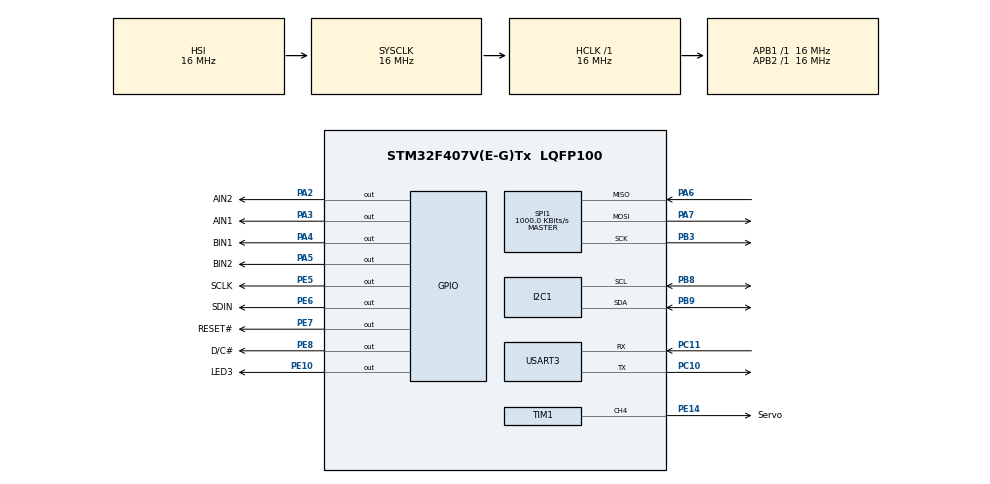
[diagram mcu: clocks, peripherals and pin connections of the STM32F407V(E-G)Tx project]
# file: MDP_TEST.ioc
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FREERTOS.Tasks01=defaultTask,24,128,StartDefaultTask,Default,NULL,Dynamic,NULL,NULL;SerialCommTask,49,128,SerialComm,Default,NULL,Dynamic,NULL,NULL;MotorTask,50,128,StartMotor,Default,NULL,Dynamic,NULL,NULL
Mcu.Family=STM32F4
Mcu.Name=STM32F407V(E-G)Tx
Mcu.Package=LQFP100
NVIC.PriorityGroup=NVIC_PRIORITYGROUP_4
NVIC.USART3_IRQn=true\:5\:0\:false\:false\:true\:true\:true\:true
PA2.GPIO_Label=AIN2
PA2.GPIO_Speed=GPIO_SPEED_FREQ_HIGH
PA2.Signal=GPIO_Output
PA3.GPIO_Label=AIN1
PA3.GPIO_Speed=GPIO_SPEED_FREQ_HIGH
PA3.Signal=GPIO_Output
PA4.GPIO_Label=BIN1
PA4.GPIO_Speed=GPIO_SPEED_FREQ_HIGH
PA4.Signal=GPIO_Output
PA5.GPIO_Label=BIN2
PA5.GPIO_Speed=GPIO_SPEED_FREQ_HIGH
PA5.Signal=GPIO_Output
PA6.Mode=Full_Duplex_Master
PA6.Signal=SPI1_MISO
PA7.Mode=Full_Duplex_Master
PA7.Signal=SPI1_MOSI
PB3.Mode=Full_Duplex_Master
PB3.Signal=SPI1_SCK
PB8.Mode=I2C
PB8.Signal=I2C1_SCL
PB9.Mode=I2C
PB9.Signal=I2C1_SDA
PC10.Mode=Asynchronous
PC10.Signal=USART3_TX
PC11.Mode=Asynchronous
PC11.Signal=USART3_RX
PC6.GPIO_Label=PWMA
PC6.Signal=S_TIM8_CH1
PC7.GPIO_Label=PWMB
PC7.Signal=S_TIM8_CH2
PE10.GPIO_Label=LED3
PE10.Signal=GPIO_Output
PE14.GPIO_Label=Servo
PE14.Signal=S_TIM1_CH4
PE5.GPIO_Label=SCLK
PE5.Signal=GPIO_Output
PE6.GPIO_Label=SDIN
PE6.Signal=GPIO_Output
PE7.GPIO_Label=RESET\#
PE7.Signal=GPIO_Output
PE8.GPIO_Label=D/C\#
PE8.Signal=GPIO_Output
ProjectManager.HeapSize=0x200
ProjectManager.StackSize=0x400
ProjectManager.TargetToolchain=STM32CubeIDE
RCC.AHBFreq_Value=16000000
RCC.APB1Freq_Value=16000000
RCC.APB2Freq_Value=16000000
RCC.CortexFreq_Value=16000000
RCC.HSE_VALUE=25000000
RCC.HSI_VALUE=16000000
RCC.LSE_VALUE=32768
RCC.SYSCLKFreq_VALUE=16000000
RCC.VCOOutputFreq_Value=192000000
SH.S_TIM1_CH4.0=TIM1_CH4,PWM Generation4 CH4
SH.S_TIM8_CH1.0=TIM8_CH1
SH.S_TIM8_CH2.0=TIM8_CH2
SPI1.BaudRatePrescaler=SPI_BAUDRATEPRESCALER_16
SPI1.CLKPhase=SPI_PHASE_2EDGE
SPI1.CLKPolarity=SPI_POLARITY_HIGH
SPI1.CalculateBaudRate=1000.0 KBits/s
SPI1.Direction=SPI_DIRECTION_2LINES
SPI1.Mode=SPI_MODE_MASTER
SPI1.VirtualType=VM_MASTER
TIM1.Channel-PWM\ Generation4\ CH4=TIM_CHANNEL_4
TIM1.Period=1000
TIM1.Prescaler=160
TIM8.Channel-PWM\ Generation1\ No\ Output=TIM_CHANNEL_1
TIM8.Channel-PWM\ Generation2\ No\ Output=TIM_CHANNEL_2
TIM8.Period=7199
USART3.VirtualMode=VM_ASYNC
VP_FREERTOS_VS_CMSIS_V2.Mode=CMSIS_V2
VP_TIM1_VS_ClockSourceINT.Mode=Internal
VP_TIM8_VS_ClockSourceINT.Mode=Internal
VP_TIM8_VS_no_output1.Mode=PWM Generation1 No Output
VP_TIM8_VS_no_output2.Mode=PWM Generation2 No Output
board=custom

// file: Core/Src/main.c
/* USER CODE BEGIN Header */
/**
  ******************************************************************************
  * @file           : main.c
  * @brief          : Main program body
  ******************************************************************************
  * @attention
  *
  * Copyright (c) 2022 STMicroelectronics.
  * All rights reserved.
  *
  * This software is licensed under terms that can be found in the LICENSE file
  * in the root directory of this software component.
  * If no LICENSE file comes with this software, it is provided AS-IS.
  *
  ******************************************************************************
  */
/* USER CODE END Header */
#include "main.h"
#include "cmsis_os.h"
#include "i2c.h"
#include "spi.h"
#include "tim.h"
#include "usart.h"
#include "gpio.h"

/* USER CODE BEGIN Includes */
#include "oled.h"
/* USER CODE END Includes */

void SystemClock_Config(void);
void MX_FREERTOS_Init(void);

/* USER CODE BEGIN 0 */
uint8_t Rx_data[10];
void HAL_UART_TxCpltCallback(UART_HandleTypeDef *huart)
{
	OLED_ShowString(0, 5, "test");
	OLED_Refresh_Gram();
	HAL_UART_Receive_IT(&huart3, Rx_data, 4);
}

/* USER CODE END 0 */

int main(void)
{

  /* MCU Configuration--------------------------------------------------------*/

  /* Reset of all peripherals, Initializes the Flash interface and the Systick. */
  HAL_Init();

  /* Configure the system clock */
  SystemClock_Config();

  /* Initialize all configured peripherals */
  MX_GPIO_Init();
  MX_TIM8_Init();
  MX_TIM1_Init();
  MX_SPI1_Init();
  MX_I2C1_Init();
  MX_USART3_UART_Init();
  /* USER CODE BEGIN 2 */
  OLED_Init();
//  icm20948_init();
//  ak09916_init();
//  int pwmVal = 1500;
//  htim1.Instance ->CCR4 = 90;
//	HAL_TIM_PWM_Start(&htim8,TIM_CHANNEL_1);
//	HAL_GPIO_WritePin(GPIOA, AIN1_Pin, GPIO_PIN_SET);
//	HAL_GPIO_WritePin(GPIOA, AIN2_Pin, GPIO_PIN_RESET);
//	__HAL_TIM_SetCompare(&htim8,TIM_CHANNEL_1,pwmVal);
//	osDelay(5000);
//	HAL_TIM_PWM_Stop(&htim8,TIM_CHANNEL_1);
  /* USER CODE END 2 */

  /* Init scheduler */
  osKernelInitialize();  /* Call init function for freertos objects (in freertos.c) */
  MX_FREERTOS_Init();
  /* Start scheduler */
  osKernelStart();

  /* We should never get here as control is now taken by the scheduler */
  /* Infinite loop */
  while (1)
  {

  }
}

void SystemClock_Config(void)
{
  RCC_OscInitTypeDef RCC_OscInitStruct = {0};
  RCC_ClkInitTypeDef RCC_ClkInitStruct = {0};

  /** Configure the main internal regulator output voltage
  */
  __HAL_RCC_PWR_CLK_ENABLE();
  __HAL_PWR_VOLTAGESCALING_CONFIG(PWR_REGULATOR_VOLTAGE_SCALE1);
  /** Initializes the RCC Oscillators according to the specified parameters
  * in the RCC_OscInitTypeDef structure.
  */
  RCC_OscInitStruct.OscillatorType = RCC_OSCILLATORTYPE_HSI;
  RCC_OscInitStruct.HSIState = RCC_HSI_ON;
  RCC_OscInitStruct.HSICalibrationValue = RCC_HSICALIBRATION_DEFAULT;
  RCC_OscInitStruct.PLL.PLLState = RCC_PLL_NONE;
  if (HAL_RCC_OscConfig(&RCC_OscInitStruct) != HAL_OK)
  {
    Error_Handler();
  }
  /** Initializes the CPU, AHB and APB buses clocks
  */
  RCC_ClkInitStruct.ClockType = RCC_CLOCKTYPE_HCLK|RCC_CLOCKTYPE_SYSCLK
                              |RCC_CLOCKTYPE_PCLK1|RCC_CLOCKTYPE_PCLK2;
  RCC_ClkInitStruct.SYSCLKSource = RCC_SYSCLKSOURCE_HSI;
  RCC_ClkInitStruct.AHBCLKDivider = RCC_SYSCLK_DIV1;
  RCC_ClkInitStruct.APB1CLKDivider = RCC_HCLK_DIV1;
  RCC_ClkInitStruct.APB2CLKDivider = RCC_HCLK_DIV1;

  if (HAL_RCC_ClockConfig(&RCC_ClkInitStruct, FLASH_LATENCY_0) != HAL_OK)
  {
    Error_Handler();
  }
}

void Error_Handler(void)
{
  __disable_irq();
  while (1)
  {
  }
}

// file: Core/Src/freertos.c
/* USER CODE BEGIN Header */
/**
  ******************************************************************************
  * File Name          : freertos.c
  * Description        : Code for freertos applications
  ******************************************************************************
  * @attention
  *
  * Copyright (c) 2022 STMicroelectronics.
  * All rights reserved.
  *
  * This software is licensed under terms that can be found in the LICENSE file
  * in the root directory of this software component.
  * If no LICENSE file comes with this software, it is provided AS-IS.
  *
  ******************************************************************************
  */
/* USER CODE END Header */

#include "FreeRTOS.h"
#include "task.h"
#include "main.h"
#include "cmsis_os.h"

/* USER CODE BEGIN Includes */
#include "icm20948.h"
#include "tim.h"
#include "usart.h"
#include "oled.h"
#include <string.h>
#include "gpio.h"
/* USER CODE END Includes */

/* USER CODE BEGIN Variables */
uint8_t motor_ready = 1;
/* USER CODE END Variables */
/* Definitions for defaultTask */
osThreadId_t defaultTaskHandle;
const osThreadAttr_t defaultTask_attributes = {
  .name = "defaultTask",
  .stack_size = 128 * 4,
  .priority = (osPriority_t) osPriorityNormal,
};
/* Definitions for SerialCommTask */
osThreadId_t SerialCommTaskHandle;
const osThreadAttr_t SerialCommTask_attributes = {
  .name = "SerialCommTask",
  .stack_size = 128 * 4,
  .priority = (osPriority_t) osPriorityRealtime1,
};
/* Definitions for MotorTask */
osThreadId_t MotorTaskHandle;
const osThreadAttr_t MotorTask_attributes = {
  .name = "MotorTask",
  .stack_size = 128 * 4,
  .priority = (osPriority_t) osPriorityRealtime2,
};

void StartDefaultTask(void *argument);
void SerialComm(void *argument);
void StartMotor(void *argument);

void MX_FREERTOS_Init(void); /* (MISRA C 2004 rule 8.1) */

void MX_FREERTOS_Init(void) {

  /* Create the thread(s) */
  /* creation of defaultTask */
  defaultTaskHandle = osThreadNew(StartDefaultTask, NULL, &defaultTask_attributes);

  /* creation of SerialCommTask */
  SerialCommTaskHandle = osThreadNew(SerialComm, NULL, &SerialCommTask_attributes);

  /* creation of MotorTask */
//  MotorTaskHandle = osThreadNew(StartMotor, NULL, &MotorTask_attributes);

}

void StartDefaultTask(void *argument)
{
  for(;;)
  {
    osDelay(1);
  }
}

void SerialComm(void *argument)
{
  /* USER CODE BEGIN SerialComm */
  /**
   * Data formatting:
   * 	L/S/R - Steering Direction
   * 	XX.X  - Steering Angle (in degrees, not required if moving straight)
   * 	F/W	  - Forward or Backwards
   * 	XXX.X - Distance in cm.
   */
  uint8_t rx_data[12];

  uint8_t top = 0, bot = 0;	// keep track of top and bottom for queue push and pop
  uint8_t BUFFER_LEN = 10;
  uint8_t cmd_buffer[BUFFER_LEN][12];	// command queue with length = 10
  uint8_t i;

//  MX_GPIO_Init();

  uint8_t pwmVal = 1500;

  char* cmd;

  HAL_TIM_PWM_Start(&htim8,TIM_CHANNEL_1); //channel 1 will gnerate the pwm signal
  HAL_TIM_PWM_Start(&htim1,TIM_CHANNEL_4); //channel 4 for servo
  /* Infinite loop */
  for(;;)
  {
	HAL_UART_Receive(&huart3, rx_data, 11, 500);
	HAL_UART_Transmit(&huart3, "READY", sizeof("READY"), HAL_MAX_DELAY);
	OLED_ShowString(0, 5, rx_data);
	OLED_Refresh_Gram();
//	strcpy(Rx_data, cmd_buffer[top]);
//	top = (top + 1)%BUFFER_LEN;
//	rx_data[0] = 'L';
	switch((int)(rx_data[0]))
	{
		case 'L':
			htim1.Instance ->CCR4 = 90;
			HAL_GPIO_WritePin(GPIOA, AIN1_Pin, GPIO_PIN_SET);
			HAL_GPIO_WritePin(GPIOA, AIN2_Pin, GPIO_PIN_RESET);
			__HAL_TIM_SetCompare(&htim8,TIM_CHANNEL_1,pwmVal);
			osDelay(1000);
			__HAL_TIM_SetCompare(&htim8, TIM_CHANNEL_4, 0);
			osDelay(200);
			break;
		case 'R':
			htim1.Instance ->CCR4 = 220;
			HAL_GPIO_WritePin(GPIOA, AIN1_Pin, GPIO_PIN_SET);
			HAL_GPIO_WritePin(GPIOA, AIN2_Pin, GPIO_PIN_RESET);
			__HAL_TIM_SetCompare(&htim8,TIM_CHANNEL_1,pwmVal);
			osDelay(1000);
			__HAL_TIM_SetCompare(&htim8, TIM_CHANNEL_4, 0);
			osDelay(200);
			break;
		case 'F':
			htim1.Instance ->CCR4 = 145;
			HAL_GPIO_WritePin(GPIOA, AIN1_Pin, GPIO_PIN_SET);
			HAL_GPIO_WritePin(GPIOA, AIN2_Pin, GPIO_PIN_RESET);
			__HAL_TIM_SetCompare(&htim8,TIM_CHANNEL_1,pwmVal);
			osDelay(1000);
			__HAL_TIM_SetCompare(&htim8, TIM_CHANNEL_4, 0);
			osDelay(200);
			break;
		case 'B':
			htim1.Instance ->CCR4 = 145;
			HAL_GPIO_WritePin(GPIOA, AIN2_Pin, GPIO_PIN_SET);
			HAL_GPIO_WritePin(GPIOA, AIN1_Pin, GPIO_PIN_RESET);
			__HAL_TIM_SetCompare(&htim8,TIM_CHANNEL_1,pwmVal);
			osDelay(1000);
			__HAL_TIM_SetCompare(&htim8, TIM_CHANNEL_4, 0);
			osDelay(200);
			break;
	}

//	if(motor_ready)
//	{
////		MotorTaskHandle = osThreadNew(StartMotor, (void*)"L40.3F001.0", &MotorTask_attributes);
//
//		strcpy(cmd, rx_data);
//		switch(cmd[0])
//		{
//		case 'L':
//
//		}
//
//	}
//	OLED_ShowString(0, 5, Rx_data);
//	OLED_Refresh_Gram();
	osDelay(1);
  }
  /* USER CODE END SerialComm */
}

void StartMotor(void *argument)
{
  /* USER CODE BEGIN StartMotor */
	if(argument == NULL)
	{
		return;
	}
	char const *cmd = (char const*)argument;
	switch(cmd[0])
	{

	}
	OLED_ShowString(0, 5, cmd);
	OLED_Refresh_Gram();
  /* USER CODE END StartMotor */
}
